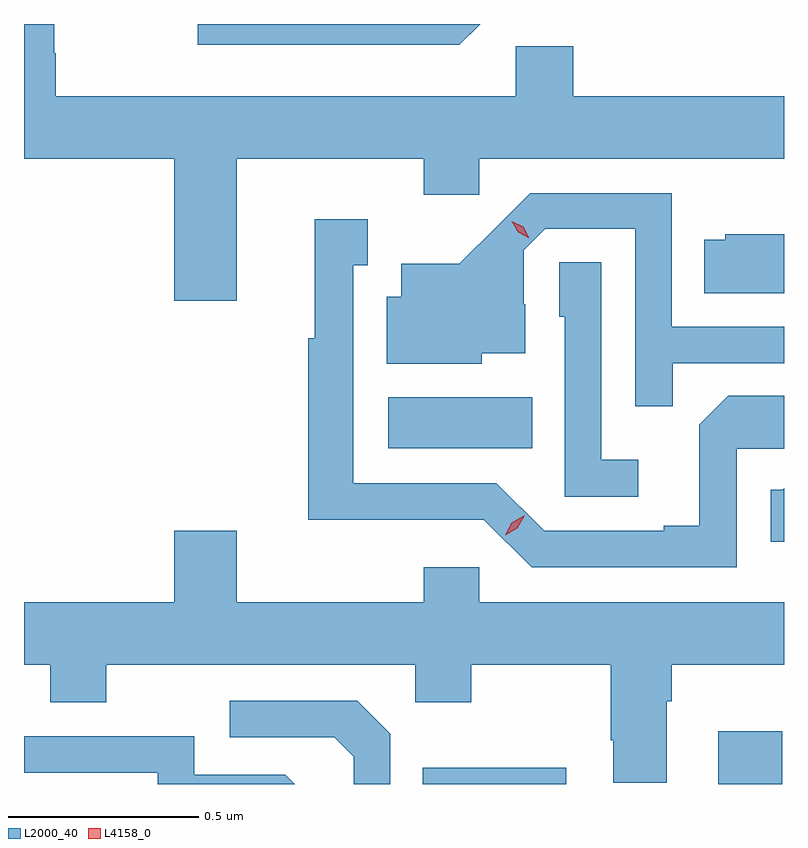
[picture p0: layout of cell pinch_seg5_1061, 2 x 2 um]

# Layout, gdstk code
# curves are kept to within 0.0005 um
import gdstk
lib = gdstk.Library(unit=1e-6, precision=1e-09)
def R(c, l, rs):  # rectangles x0, y0, x1, y1
    for r in rs: c.add(gdstk.rectangle(r[:2], r[2:], *l))
def P(c, l, *ps):  # polygons
    for p in ps: c.add(gdstk.Polygon(p, *l))
L2000_40 = (2000, 40)
L4158_0 = (4158, 0)

pinch_seg5_1061 = lib.new_cell('pinch_seg5_1061')
R(pinch_seg5_1061, L2000_40, [(729.097,843.126,729.475,843.169), (729.875,843.126,730.043,843.265), (729.006,844.01,729.386,844.144)])
P(pinch_seg5_1061, L2000_40, [(728.608,844.772),(729.1,844.772),(729.1,844.677),(729.246,844.677),(729.246,844.772),(730.048,844.772),(730.048,844.936),(729.494,844.936),(729.494,845.068),(729.342,845.068),(729.342,844.936),(728.132,844.936),(728.132,845.049),(728.127,845.049),(728.127,845.126),(728.048,845.126),(728.048,844.772),(728.444,844.772),(728.444,844.398),(728.608,844.398)],
  [(729.248,845.126),(728.505,845.126),(728.505,845.072),(729.194,845.072)],
  [(729.755,844.233),(730.048,844.233),(730.048,844.329),(729.753,844.329),(729.753,844.68),(729.38,844.68),(729.193,844.495),(729.041,844.495),(729.041,844.408),(729.002,844.408),(729.002,844.232),(729.252,844.232),(729.252,844.259),(729.367,844.259),(729.367,844.388),(729.363,844.388),(729.363,844.53),(729.42,844.587),(729.657,844.587),(729.657,844.12),(729.755,844.12)],
  [(729.924,844.008),(730.048,844.008),(730.048,844.148),(729.901,844.148),(729.825,844.072),(729.825,843.805),(729.731,843.805),(729.731,843.792),(729.417,843.792),(729.291,843.918),(728.914,843.918),(728.914,844.491),(728.953,844.491),(728.953,844.612),(728.813,844.612),(728.813,844.299),(728.796,844.299),(728.796,843.821),(729.036,843.821),(729.036,843.822),(729.258,843.822),(729.384,843.696),(729.924,843.696)],
  [(730.048,844.573),(729.894,844.573),(729.894,844.558),(729.838,844.558),(729.838,844.418),(730.048,844.418)],
  [(729.664,843.979),(729.567,843.979),(729.567,844.499),(729.456,844.499),(729.456,844.356),(729.471,844.356),(729.471,843.882),(729.664,843.882)],
  [(730.048,843.904),(730.044,843.9),(730.013,843.9),(730.013,843.764),(730.048,843.764)],
  [(729.246,843.697),(729.1,843.697),(729.1,843.604),(728.608,843.604),(728.608,843.793),(728.444,843.793),(728.444,843.604),(728.048,843.604),(728.048,843.44),(728.117,843.44),(728.117,843.341),(728.265,843.341),(728.265,843.44),(729.078,843.44),(729.078,843.341),(729.225,843.341),(729.225,843.44),(729.592,843.44),(729.592,843.241),(729.599,843.241),(729.599,843.129),(729.739,843.129),(729.739,843.344),(729.752,843.344),(729.752,843.44),(730.048,843.44),(730.048,843.604),(729.246,843.604)],
  [(729.012,843.258),(728.925,843.345),(728.589,843.345),(728.589,843.249),(728.865,843.249),(728.916,843.198),(728.916,843.126),(729.012,843.126)],
  [(728.736,843.15),(728.496,843.15),(728.496,843.252),(728.048,843.252),(728.048,843.156),(728.4,843.156),(728.4,843.126),(728.76,843.126)])
P(pinch_seg5_1061, L4158_0, [(729.378,844.562),(729.348,844.578),(729.331,844.607),(729.331,844.607),(729.331,844.607),(729.362,844.592),(729.378,844.562),(729.378,844.562)],
  [(729.315,843.78),(729.315,843.78),(729.332,843.813),(729.363,843.832),(729.364,843.832),(729.364,843.831),(729.346,843.799),(729.315,843.78)])

lib.write_gds('pinch_seg5_1061.gds')
